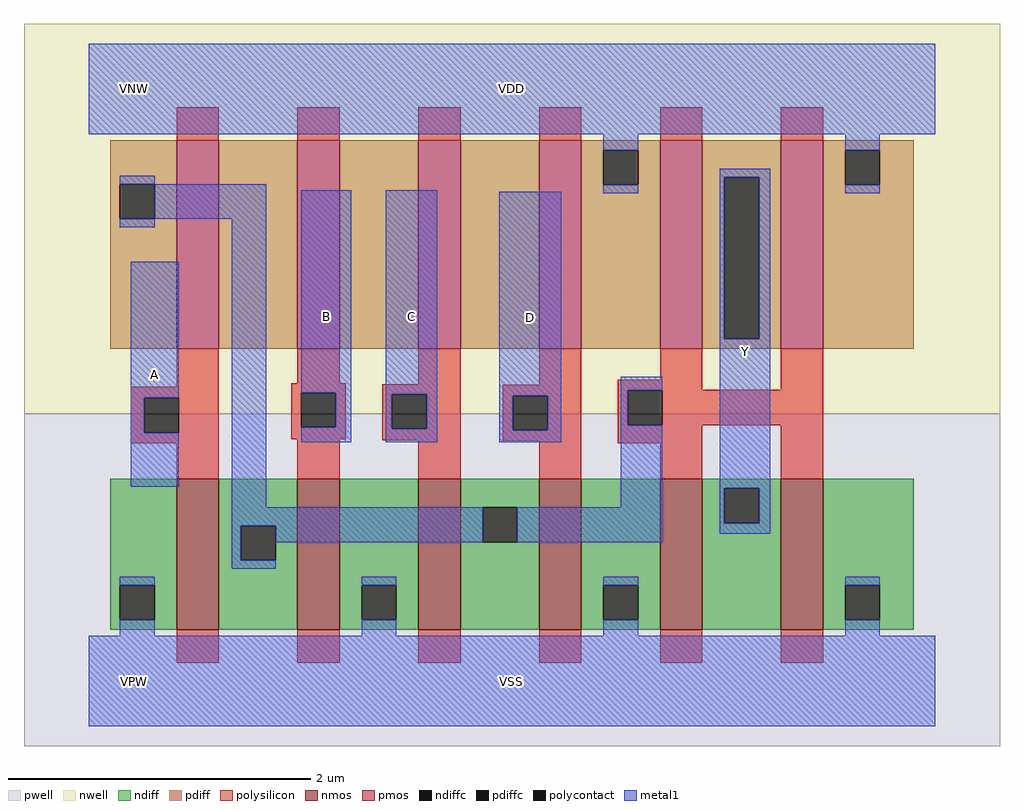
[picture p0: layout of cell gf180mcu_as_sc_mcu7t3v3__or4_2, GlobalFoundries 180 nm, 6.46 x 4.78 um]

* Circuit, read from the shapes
.subckt gf180mcu_as_sc_mcu7t3v3__or4_2 VDD VNW VPW VSS A B C D Y
XM1 n1 A VSS VPW nfet_03v3 w=1u l=0.28u
XM2 VSS B n1 VPW nfet_03v3 w=1u l=0.28u
XM3 n1 C VSS VPW nfet_03v3 w=1u l=0.28u
XM4 VSS D n1 VPW nfet_03v3 w=1u l=0.28u
XM5 Y n1 VSS VPW nfet_03v3 w=1u l=0.28u m=2
XM6 n2 A n1 VNW pfet_03v3 w=1.38u l=0.28u
XM7 n3 B n2 VNW pfet_03v3 w=1.38u l=0.28u
XM8 n4 C n3 VNW pfet_03v3 w=1.38u l=0.28u
XM9 VDD D n4 VNW pfet_03v3 w=1.38u l=0.28u
XM10 Y n1 VDD VNW pfet_03v3 w=1.38u l=0.28u m=2
.ends

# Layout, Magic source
magic
tech gf180mcuD
magscale 1 10
<< nwell >>
rect -86 354 1206 870
<< pwell >>
rect -86 -86 1206 354
<< nmos >>
rect 116 68 172 268
rect 276 68 332 268
rect 436 68 492 268
rect 596 68 652 268
rect 756 68 812 268
rect 916 68 972 268
<< pmos >>
rect 116 440 172 716
rect 276 440 332 716
rect 436 440 492 716
rect 596 440 652 716
rect 756 440 812 716
rect 916 440 972 716
<< ndiff >>
rect 28 127 116 268
rect 28 81 41 127
rect 87 81 116 127
rect 28 68 116 81
rect 172 206 276 268
rect 172 160 201 206
rect 247 160 276 206
rect 172 68 276 160
rect 332 127 436 268
rect 332 81 361 127
rect 407 81 436 127
rect 332 68 436 81
rect 492 230 596 268
rect 492 184 521 230
rect 567 184 596 230
rect 492 68 596 184
rect 652 127 756 268
rect 652 81 681 127
rect 727 81 756 127
rect 652 68 756 81
rect 812 255 916 268
rect 812 209 841 255
rect 887 209 916 255
rect 812 68 916 209
rect 972 127 1092 268
rect 972 81 1001 127
rect 1047 81 1092 127
rect 972 68 1092 81
<< pdiff >>
rect 28 658 116 716
rect 28 612 41 658
rect 87 612 116 658
rect 28 440 116 612
rect 172 440 276 716
rect 332 440 436 716
rect 492 440 596 716
rect 652 703 756 716
rect 652 657 681 703
rect 727 657 756 703
rect 652 440 756 657
rect 812 667 916 716
rect 812 453 841 667
rect 887 453 916 667
rect 812 440 916 453
rect 972 703 1092 716
rect 972 657 1001 703
rect 1047 657 1092 703
rect 972 440 1092 657
<< ndiffc >>
rect 41 81 87 127
rect 201 160 247 206
rect 361 81 407 127
rect 521 184 567 230
rect 681 81 727 127
rect 841 209 887 255
rect 1001 81 1047 127
<< pdiffc >>
rect 41 612 87 658
rect 681 657 727 703
rect 841 453 887 667
rect 1001 657 1047 703
<< polysilicon >>
rect 116 716 172 760
rect 276 716 332 760
rect 436 716 492 760
rect 596 716 652 760
rect 756 716 812 760
rect 916 716 972 760
rect 116 390 172 440
rect 276 394 332 440
rect 55 375 172 390
rect 55 329 73 375
rect 119 329 172 375
rect 55 315 172 329
rect 268 382 340 394
rect 436 393 492 440
rect 268 336 281 382
rect 327 336 340 382
rect 268 320 340 336
rect 388 380 492 393
rect 596 392 652 440
rect 756 399 812 440
rect 388 334 401 380
rect 447 334 492 380
rect 116 268 172 315
rect 276 268 332 320
rect 388 319 492 334
rect 436 268 492 319
rect 548 378 652 392
rect 548 332 561 378
rect 607 332 652 378
rect 548 318 652 332
rect 596 268 652 318
rect 700 386 812 399
rect 916 386 972 440
rect 700 385 972 386
rect 700 339 713 385
rect 759 339 972 385
rect 700 315 812 339
rect 756 268 812 315
rect 916 268 972 339
rect 116 24 172 68
rect 276 24 332 68
rect 436 24 492 68
rect 596 24 652 68
rect 756 24 812 68
rect 916 24 972 68
<< polycontact >>
rect 73 329 119 375
rect 281 336 327 382
rect 401 334 447 380
rect 561 332 607 378
rect 713 339 759 385
<< metal1 >>
rect 0 724 1120 844
rect 681 703 727 724
rect 41 658 87 669
rect 87 612 235 658
rect 1001 703 1047 724
rect 41 601 87 612
rect 55 375 119 555
rect 55 329 73 375
rect 55 257 119 329
rect 189 230 235 612
rect 281 382 347 650
rect 327 336 347 382
rect 281 316 347 336
rect 393 380 461 650
rect 393 334 401 380
rect 447 334 461 380
rect 393 316 461 334
rect 543 378 625 648
rect 681 646 727 657
rect 835 667 902 678
rect 835 453 841 667
rect 887 453 902 667
rect 1001 646 1047 657
rect 543 332 561 378
rect 607 332 625 378
rect 543 316 625 332
rect 704 385 759 403
rect 704 339 713 385
rect 704 230 759 339
rect 189 206 521 230
rect 189 160 201 206
rect 247 184 521 206
rect 567 184 759 230
rect 835 255 902 453
rect 835 209 841 255
rect 887 209 902 255
rect 835 195 902 209
rect 189 149 247 160
rect 41 127 87 138
rect 41 60 87 81
rect 361 127 407 138
rect 361 60 407 81
rect 681 127 727 138
rect 681 60 727 81
rect 1001 127 1047 138
rect 1001 60 1047 81
rect 0 -60 1120 60
<< labels >>
flabel metal1 s 0 724 1120 844 0 FreeSans 400 0 0 0 VDD
port 1 nsew power bidirectional abutment
flabel metal1 s 0 -60 1120 60 0 FreeSans 400 0 0 0 VSS
port 4 nsew ground bidirectional abutment
flabel nwell s 10 734 110 834 0 FreeSans 400 0 0 0 VNW
port 2 nsew power bidirectional
flabel pwell s 10 -50 110 50 0 FreeSans 400 0 0 0 VPW
port 3 nsew ground bidirectional
flabel metal1 s 835 195 902 678 0 FreeSans 200 0 0 0 Y
port 9 nsew signal output
flabel metal1 s 55 257 119 555 0 FreeSans 200 0 0 0 A
port 5 nsew signal input
flabel metal1 s 281 316 347 650 0 FreeSans 200 0 0 0 B
port 6 nsew signal input
flabel metal1 s 393 316 461 650 0 FreeSans 200 0 0 0 C
port 7 nsew signal input
flabel metal1 s 543 316 625 648 0 FreeSans 200 0 0 0 D
port 8 nsew signal input
<< properties >>
string FIXED_BBOX 0 0 1120 784
string LEFclass CORE
string LEFsite unithd
string LEFsymmetry X Y
string MASKHINTS_NPLUS -16 -46 1136 354
string MASKHINTS_PPLUS -16 354 1136 830
<< end >>
